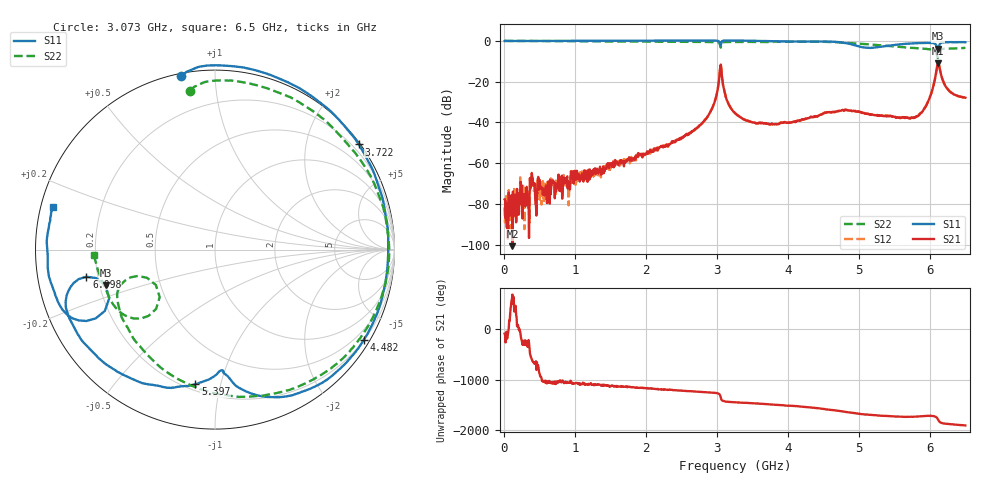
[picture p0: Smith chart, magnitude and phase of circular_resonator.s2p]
!Keysight Technologies,P9371A,MY57211172,A.13.10.05
!Date: Monday, March 30, 2026 15:30:50
!Correction: S11(Full 2 Port(1,2))
!S21(Full 2 Port(1,2))
!S12(Full 2 Port(1,2))
!S22(Full 2 Port(1,2))
!S2P File: Measurements: S11, S21, S12, S22:
# Hz S  dB  R 50
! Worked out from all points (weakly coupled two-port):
!   1001 points, 10 MHz to 6.5 GHz, reference 50 ohm
!   highest |S21| = -10.91 dB at 6.117 GHz (marker M1); lowest = -100.7 dB at 120.3 MHz (marker M2)
!   lowest |S11| = -3.9 dB at 6.111 GHz (marker M3), VSWR 4.58, Z = 11.2 - j7.56 ohm
!   |S11| at or under -10 dB: nowhere
!   |S22| runs from -8.3 to 0.1 dB; largest |S21 - S12| = 0.00094
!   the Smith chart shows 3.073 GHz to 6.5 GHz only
!   S11 on the Smith chart (normalised r, x): 3.073 GHz: 0.01, +0.83; 3.722 GHz: 0.04, +3.06; 4.482 GHz: 0.21, -3.56; 5.397 GHz: 0.24, -0.84; 6.098 GHz: 0.16, -0.10; 6.5 GHz: 0.04, +0.13
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1e7  0.01 -0.7  -77.76 -88.5  -81.66 46.4  0.00 -0.5
1.2033e8  -0.00 -10.5  -100.72 -32.8  -85.76 102.6  -0.01 -10.4
3.2152e8  -0.00 -28.1  -71.58 58.1  -78.23 29.9  -0.01 -27.8
3.994e8  -0.00 -34.8  -66.67 96.2  -67.59 97.7  -0.02 -34.6
5.8112e8  0.01 -50.6  -74.17 20.5  -74.29 33.1  -0.02 -50.4
1.09383e9  0.04 -94.9  -66.58 -12.2  -66.24 -6.9  -0.11 -95.6
1.67793e9  0.10 -144.7  -59.01 -51.9  -58.91 -56.4  -0.22 -147.6
2.17766e9  0.17 172.5  -52.94 -114.9  -52.15 -110.3  -0.36 168.2
2.82017e9  0.24 116.1  -39.21 -166.6  -39.31 -167.0  -0.48 112.4
3.07328e9  -0.12 100.9  -17.99 28.1  -18.00 28.1  -0.95 99.1
3.255e9  0.22 78.6  -35.43 -9.5  -35.34 -9.7  -0.49 78.2
3.72228e9  -0.06 36.2  -40.66 -49.6  -40.65 -49.0  -0.52 40.4
4.33883e9  -0.27 -17.7  -37.25 -114.0  -37.38 -114.4  -0.28 -11.4
4.48161e9  -0.27 -31.3  -35.92 -136.6  -35.91 -136.9  -0.39 -24.3
5.3967e9  -2.41 -98.3  -36.86 79.4  -36.64 79.5  -2.41 -103.3
5.42266e9  -2.28 -100.2  -36.87 77.3  -36.98 77.8  -2.48 -105.3
5.85749e9  -1.05 -138.3  -35.88 72.2  -35.82 71.8  -3.71 -138.2
6.09762e9  -2.70 -168.1  -13.39 45.0  -13.39 45.0  -6.85 -161.1
6.1106e9  -3.86 -161.9  -11.19 18.7  -11.18 18.7  -8.31 -149.1
6.11709e9  -3.75 -155.2  -10.91 2.2  -10.91 2.2  -7.83 -139.3
6.25987e9  -0.56 -171.3  -24.07 -80.0  -24.03 -80.0  -3.79 -158.7
6.5e9  -0.60 165.2  -27.86 -108.8  -27.88 -109.3  -3.41 -177.5
